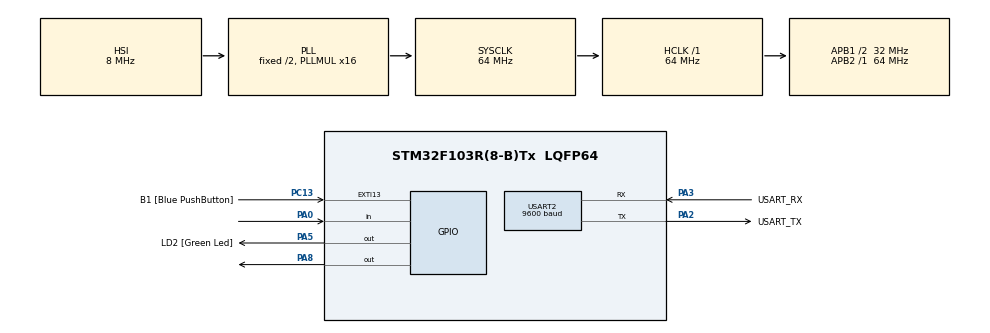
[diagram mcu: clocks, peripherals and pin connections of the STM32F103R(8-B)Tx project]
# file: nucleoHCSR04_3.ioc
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Mcu.Family=STM32F1
Mcu.Name=STM32F103R(8-B)Tx
Mcu.Package=LQFP64
NVIC.EXTI15_10_IRQn=true\:0\:0\:false\:false\:true\:true\:true\:true
NVIC.PriorityGroup=NVIC_PRIORITYGROUP_4
PA0-WKUP.Signal=GPIO_Input
PA13.GPIO_Label=TMS
PA13.Mode=Serial_Wire
PA13.Signal=SYS_JTMS-SWDIO
PA14.GPIO_Label=TCK
PA14.Mode=Serial_Wire
PA14.Signal=SYS_JTCK-SWCLK
PA2.GPIO_Label=USART_TX
PA2.GPIO_Mode=GPIO_MODE_AF_PP
PA2.GPIO_PuPd=GPIO_NOPULL
PA2.GPIO_Speed=GPIO_SPEED_FREQ_LOW
PA2.Mode=Asynchronous
PA2.Signal=USART2_TX
PA3.GPIO_Label=USART_RX
PA3.GPIO_Mode=GPIO_MODE_AF_PP
PA3.GPIO_PuPd=GPIO_NOPULL
PA3.GPIO_Speed=GPIO_SPEED_FREQ_LOW
PA3.Mode=Asynchronous
PA3.Signal=USART2_RX
PA5.GPIO_Label=LD2 [Green Led]
PA5.GPIO_ModeDefaultOutputPP=GPIO_MODE_OUTPUT_PP
PA5.GPIO_PuPd=GPIO_NOPULL
PA5.GPIO_Speed=GPIO_SPEED_FREQ_LOW
PA5.Signal=GPIO_Output
PA8.Signal=GPIO_Output
PB3.GPIO_Label=SWO
PB3.Signal=SYS_JTDO-TRACESWO
PC13-TAMPER-RTC.GPIO_Label=B1 [Blue PushButton]
PC13-TAMPER-RTC.GPIO_PuPd=GPIO_NOPULL
PC13-TAMPER-RTC.Signal=GPXTI13
PC14-OSC32_IN.Mode=LSE-External-Oscillator
PC14-OSC32_IN.Signal=RCC_OSC32_IN
PC15-OSC32_OUT.Mode=LSE-External-Oscillator
PC15-OSC32_OUT.Signal=RCC_OSC32_OUT
PD0-OSC_IN.Mode=HSE-External-Clock-Source
PD0-OSC_IN.Signal=RCC_OSC_IN
PD1-OSC_OUT.Mode=HSE-External-Clock-Source
PD1-OSC_OUT.Signal=RCC_OSC_OUT
ProjectManager.HeapSize=0x200
ProjectManager.StackSize=0x400
ProjectManager.TargetToolchain=STM32CubeIDE
RCC.AHBFreq_Value=64000000
RCC.APB1CLKDivider=RCC_HCLK_DIV2
RCC.APB1Freq_Value=32000000
RCC.APB1TimFreq_Value=64000000
RCC.APB2Freq_Value=64000000
RCC.APB2TimFreq_Value=64000000
RCC.HCLKFreq_Value=64000000
RCC.PLLMUL=RCC_PLL_MUL16
RCC.RTCClockSelection=RCC_RTCCLKSOURCE_LSE
RCC.SYSCLKFreq_VALUE=64000000
RCC.SYSCLKSource=RCC_SYSCLKSOURCE_PLLCLK
RCC.USBFreq_Value=64000000
TIM3.Prescaler=63
USART2.BaudRate=9600
USART2.VirtualMode=VM_ASYNC
VP_TIM3_VS_ClockSourceINT.Mode=Internal
board=NUCLEO-F103RB

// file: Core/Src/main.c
/* USER CODE BEGIN Header */
/**
  ******************************************************************************
  * @file           : main.c
  * @brief          : Main program body
  ******************************************************************************
  * @attention
  *
  * Copyright (c) 2022 STMicroelectronics.
  * All rights reserved.
  *
  * This software is licensed under terms that can be found in the LICENSE file
  * in the root directory of this software component.
  * If no LICENSE file comes with this software, it is provided AS-IS.
  *
  ******************************************************************************
  */
/* USER CODE END Header */
#include "main.h"

 TIM_HandleTypeDef htim3;

UART_HandleTypeDef huart2;

/* USER CODE BEGIN PV */
uint32_t trigIdx;
uint32_t time_us;
uint32_t cnt;
/* USER CODE END PV */

void SystemClock_Config(void);
static void MX_GPIO_Init(void);
static void MX_USART2_UART_Init(void);
static void MX_TIM3_Init(void);

/* USER CODE BEGIN 0 */

#ifdef __GNUC__
/* With GCC, small printf (option LD Linker->Libraries->Small printf
   set to 'Yes') calls __io_putchar() */
#define PUTCHAR_PROTOTYPE int __io_putchar(int ch)
#else
#define PUTCHAR_PROTOTYPE int fputc(int ch, FILE *f)
#endif /* __GNUC__ */

PUTCHAR_PROTOTYPE
{
  /* Place your implementation of fputc here */
  /* e.g. write a character to the USART1 and Loop until the end of transmission */
  HAL_UART_Transmit(&huart2, (uint8_t *)&ch, 1, 0xFFFF);

  return ch;
}

void delay_us(uint16_t delay)
{
	__HAL_TIM_SET_COUNTER(&htim3,0);
	while(__HAL_TIM_GET_COUNTER(&htim3)<delay);
}
void ultraSonic(uint32_t gpio_pin)
{
	if(trigIdx == 0)
	{
		HAL_GPIO_WritePin(GPIOA, gpio_pin, GPIO_PIN_SET);
		delay_us(10);
		HAL_GPIO_WritePin(GPIOA, gpio_pin, GPIO_PIN_RESET);
		trigIdx = 1;
	}
	else if(trigIdx == 1)
	{
		while(HAL_GPIO_ReadPin(GPIOA, GPIO_PIN_0)==GPIO_PIN_SET)
		{
			cnt++;

		}
		if((HAL_GPIO_ReadPin(GPIOA, GPIO_PIN_0)==GPIO_PIN_RESET)&&cnt>0)
		{
			time_us=cnt;
			printf("time : %d\r\n",time_us);
			trigIdx = 0;
			cnt = 0;
		}
	}
}

/* USER CODE END 0 */

int main(void)
{

  /* MCU Configuration--------------------------------------------------------*/

  /* Reset of all peripherals, Initializes the Flash interface and the Systick. */
  HAL_Init();

  /* Configure the system clock */
  SystemClock_Config();

  /* Initialize all configured peripherals */
  MX_GPIO_Init();
  MX_USART2_UART_Init();
  MX_TIM3_Init();
  /* USER CODE BEGIN 2 */
  HAL_TIM_Base_Start(&htim3);
  /* USER CODE END 2 */

  /* Infinite loop */
  while (1)
  {

    /* USER CODE BEGIN 3 */
	  ultraSonic(GPIO_PIN_8);
  }
  /* USER CODE END 3 */
}

void SystemClock_Config(void)
{
  RCC_OscInitTypeDef RCC_OscInitStruct = {0};
  RCC_ClkInitTypeDef RCC_ClkInitStruct = {0};

  /** Initializes the RCC Oscillators according to the specified parameters
  * in the RCC_OscInitTypeDef structure.
  */
  RCC_OscInitStruct.OscillatorType = RCC_OSCILLATORTYPE_HSI;
  RCC_OscInitStruct.HSIState = RCC_HSI_ON;
  RCC_OscInitStruct.HSICalibrationValue = RCC_HSICALIBRATION_DEFAULT;
  RCC_OscInitStruct.PLL.PLLState = RCC_PLL_ON;
  RCC_OscInitStruct.PLL.PLLSource = RCC_PLLSOURCE_HSI_DIV2;
  RCC_OscInitStruct.PLL.PLLMUL = RCC_PLL_MUL16;
  if (HAL_RCC_OscConfig(&RCC_OscInitStruct) != HAL_OK)
  {
    Error_Handler();
  }

  /** Initializes the CPU, AHB and APB buses clocks
  */
  RCC_ClkInitStruct.ClockType = RCC_CLOCKTYPE_HCLK|RCC_CLOCKTYPE_SYSCLK
                              |RCC_CLOCKTYPE_PCLK1|RCC_CLOCKTYPE_PCLK2;
  RCC_ClkInitStruct.SYSCLKSource = RCC_SYSCLKSOURCE_PLLCLK;
  RCC_ClkInitStruct.AHBCLKDivider = RCC_SYSCLK_DIV1;
  RCC_ClkInitStruct.APB1CLKDivider = RCC_HCLK_DIV2;
  RCC_ClkInitStruct.APB2CLKDivider = RCC_HCLK_DIV1;

  if (HAL_RCC_ClockConfig(&RCC_ClkInitStruct, FLASH_LATENCY_2) != HAL_OK)
  {
    Error_Handler();
  }
}

static void MX_TIM3_Init(void)
{

  TIM_ClockConfigTypeDef sClockSourceConfig = {0};
  TIM_MasterConfigTypeDef sMasterConfig = {0};

  htim3.Instance = TIM3;
  htim3.Init.Prescaler = 63;
  htim3.Init.CounterMode = TIM_COUNTERMODE_UP;
  htim3.Init.Period = 65535;
  htim3.Init.ClockDivision = TIM_CLOCKDIVISION_DIV1;
  htim3.Init.AutoReloadPreload = TIM_AUTORELOAD_PRELOAD_DISABLE;
  if (HAL_TIM_Base_Init(&htim3) != HAL_OK)
  {
    Error_Handler();
  }
  sClockSourceConfig.ClockSource = TIM_CLOCKSOURCE_INTERNAL;
  if (HAL_TIM_ConfigClockSource(&htim3, &sClockSourceConfig) != HAL_OK)
  {
    Error_Handler();
  }
  sMasterConfig.MasterOutputTrigger = TIM_TRGO_RESET;
  sMasterConfig.MasterSlaveMode = TIM_MASTERSLAVEMODE_DISABLE;
  if (HAL_TIMEx_MasterConfigSynchronization(&htim3, &sMasterConfig) != HAL_OK)
  {
    Error_Handler();
  }

}

static void MX_USART2_UART_Init(void)
{

  huart2.Instance = USART2;
  huart2.Init.BaudRate = 9600;
  huart2.Init.WordLength = UART_WORDLENGTH_8B;
  huart2.Init.StopBits = UART_STOPBITS_1;
  huart2.Init.Parity = UART_PARITY_NONE;
  huart2.Init.Mode = UART_MODE_TX_RX;
  huart2.Init.HwFlowCtl = UART_HWCONTROL_NONE;
  huart2.Init.OverSampling = UART_OVERSAMPLING_16;
  if (HAL_UART_Init(&huart2) != HAL_OK)
  {
    Error_Handler();
  }

}

static void MX_GPIO_Init(void)
{
  GPIO_InitTypeDef GPIO_InitStruct = {0};

  /* GPIO Ports Clock Enable */
  __HAL_RCC_GPIOC_CLK_ENABLE();
  __HAL_RCC_GPIOD_CLK_ENABLE();
  __HAL_RCC_GPIOA_CLK_ENABLE();
  __HAL_RCC_GPIOB_CLK_ENABLE();

  /*Configure GPIO pin Output Level */
  HAL_GPIO_WritePin(GPIOA, LD2_Pin|GPIO_PIN_8, GPIO_PIN_RESET);

  /*Configure GPIO pin : B1_Pin */
  GPIO_InitStruct.Pin = B1_Pin;
  GPIO_InitStruct.Mode = GPIO_MODE_IT_RISING;
  GPIO_InitStruct.Pull = GPIO_NOPULL;
  HAL_GPIO_Init(B1_GPIO_Port, &GPIO_InitStruct);

  /*Configure GPIO pin : PA0 */
  GPIO_InitStruct.Pin = GPIO_PIN_0;
  GPIO_InitStruct.Mode = GPIO_MODE_INPUT;
  GPIO_InitStruct.Pull = GPIO_NOPULL;
  HAL_GPIO_Init(GPIOA, &GPIO_InitStruct);

  /*Configure GPIO pins : LD2_Pin PA8 */
  GPIO_InitStruct.Pin = LD2_Pin|GPIO_PIN_8;
  GPIO_InitStruct.Mode = GPIO_MODE_OUTPUT_PP;
  GPIO_InitStruct.Pull = GPIO_NOPULL;
  GPIO_InitStruct.Speed = GPIO_SPEED_FREQ_LOW;
  HAL_GPIO_Init(GPIOA, &GPIO_InitStruct);

  /* EXTI interrupt init*/
  HAL_NVIC_SetPriority(EXTI15_10_IRQn, 0, 0);
  HAL_NVIC_EnableIRQ(EXTI15_10_IRQn);

}

void Error_Handler(void)
{
  __disable_irq();
  while (1)
  {
  }
}
